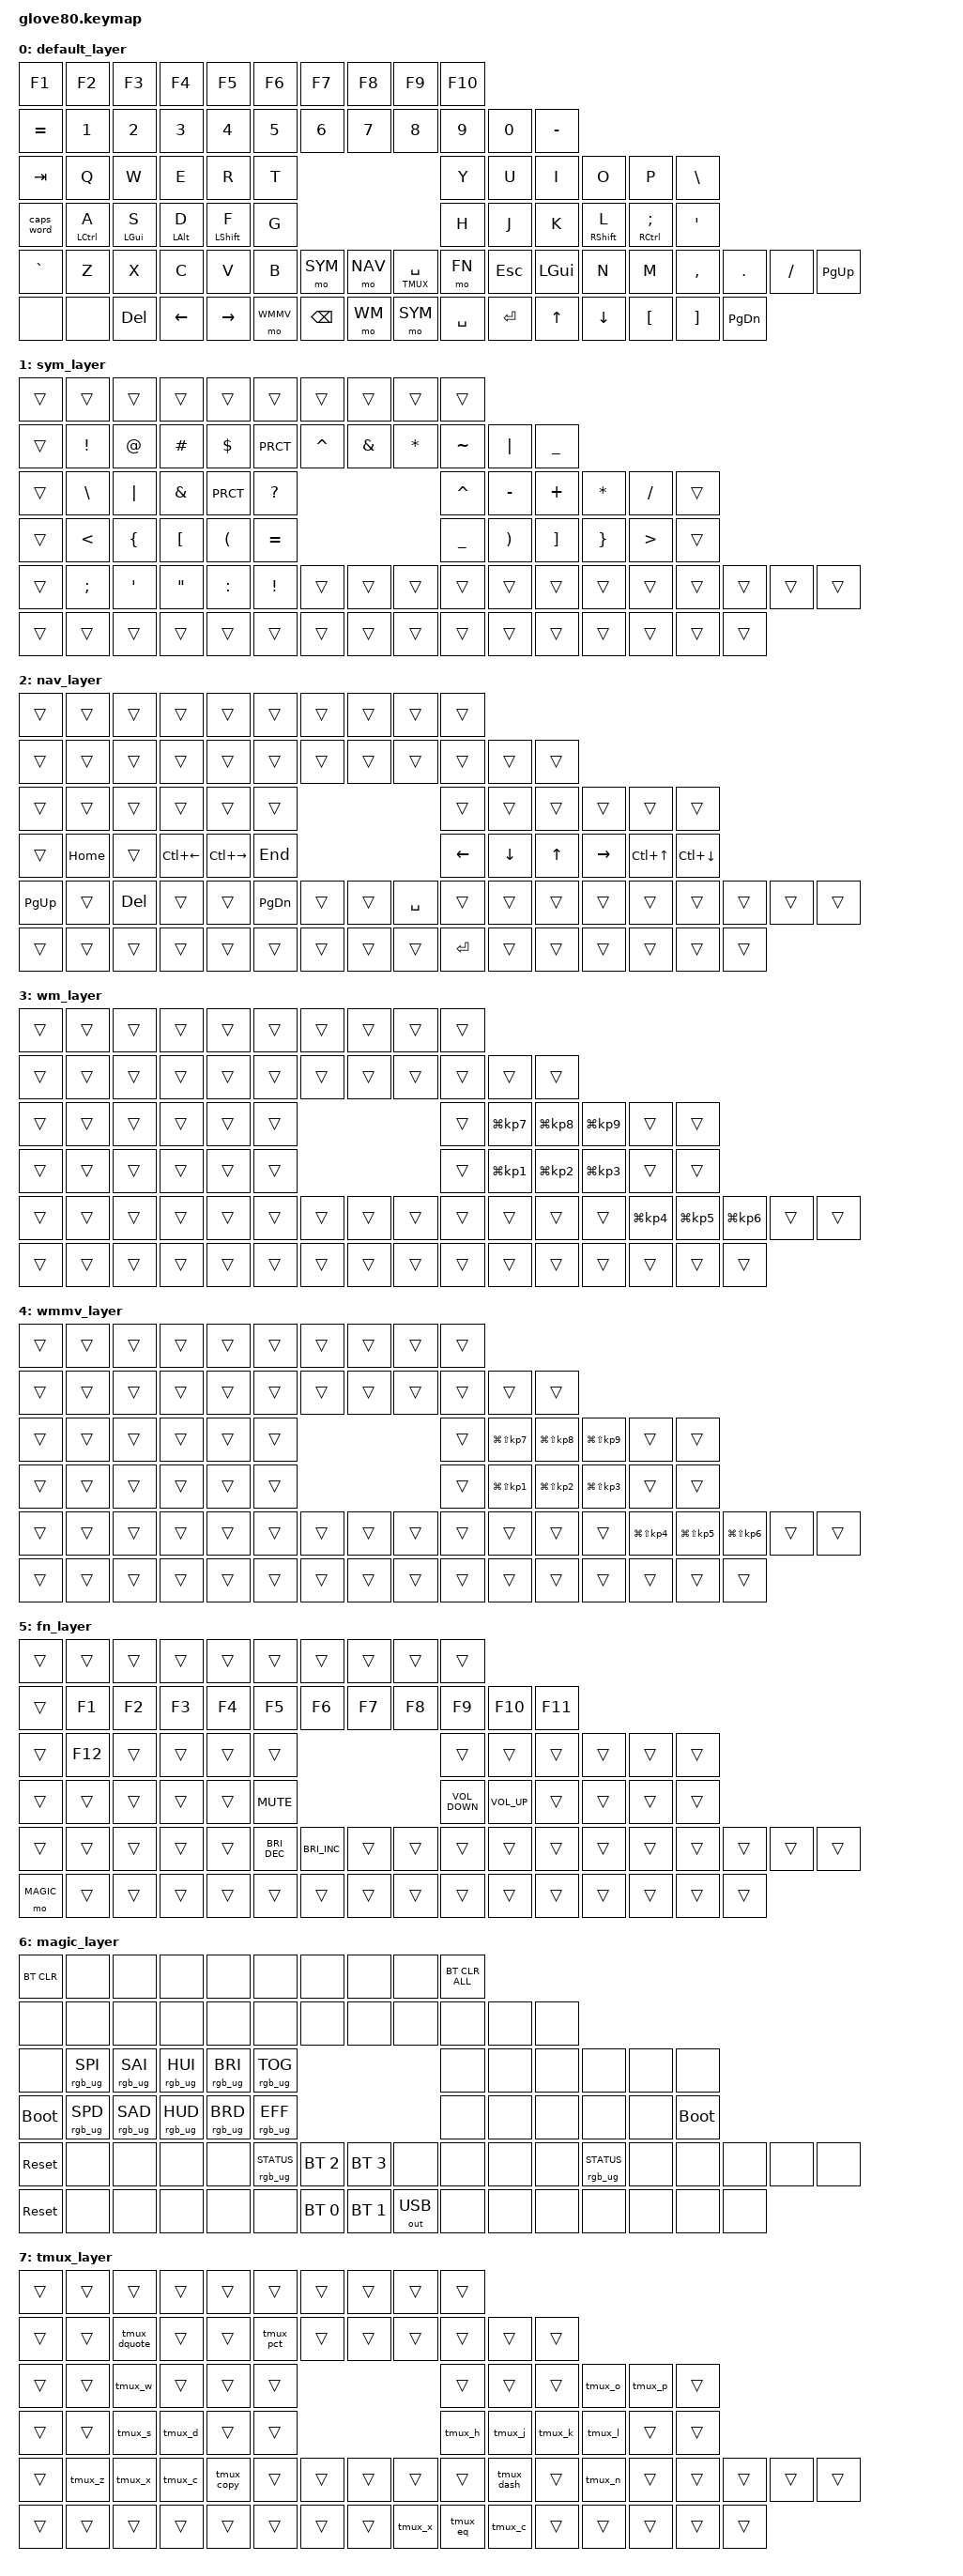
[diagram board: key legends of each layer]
/*
 * Glove80 keymap for asadler -- nvim + omarchy/Hyprland optimized.
 * Build: fork moergo-sc/glove80-zmk-config, put this in config/glove80.keymap,
 * push, grab glove80.uf2 from Actions, flash each half.
 *
 * HRM is bilateral: left-hand mods (hml) only engage for right-hand/thumb keys
 * and vice versa (hmr), so same-hand rolls resolve as letters instantly with no
 * tapping-term stall. Multi-mod chords must cross hands (e.g. Ctrl on A + Shift on L).
 * HRM on A/S/D/F + J/K/L/;, thumbs = left: SYM/NAV/tmux-space + WM-move/backspace/WM,
 * right: FN/Esc/SUPER + SYM/space/enter (SYM on both thumbs so any symbol can be
 * reached cross-hand; both WM layers hold on the left thumb, targets on the right).
 * Esc = J+K combo or right-middle thumb key, tmux command mode = hold the
 * right-thumb inner key (tap = space): while held, each key sends
 * prefix+command (e.g. = -> backtick+equal, % -> backtick+%, " -> backtick+").
 * tmux V = prefix+[ -> copy/visual mode (mode-keys vi, so v selects, y yanks).
 * Delete on NAV and bottom-row left, WM layers emit SUPER+numpad (matches ~/.config/hypr/bindings.lua
 * numpad workspace grid): 1/2/3 on J/K/L, 4/5/6 on M/,/., 7/8/9 on U/I/O.
 * SYM home row is mirrored: pinky->index is < { [ ( on the left and ) ] } >
 * on the right (openers left, closers right, same finger); inner index is
 * = / _. Right-hand N M , . / stay &trans so , and . work while SYM is held.
 * SYM row above home is the operator row: left pinky->index-stretch is
 * \ | & % ?, right index-stretch->pinky is ^ - + * /, so U I O P reads
 * "- + * /" in arithmetic order and % sits on the left index home column
 * instead of a lateral stretch.
 */

#include <behaviors.dtsi>
#include <dt-bindings/zmk/keys.h>
#include <dt-bindings/zmk/bt.h>
#include <dt-bindings/zmk/outputs.h>
#include <dt-bindings/zmk/rgb.h>

#define DEFAULT 0
#define SYM 1
#define NAV 2
#define WM 3
#define WMMV 4
#define FN 5
#define MAGIC 6
#define TMUX 7

/* Key positions for bilateral home-row mods. Rows are 10/12/12/12/18/16 keys.
 * Thumbs are listed for both hands so mod+space/enter/layer still works. */
#define LEFT_HAND  0 1 2 3 4 \
                   10 11 12 13 14 15 \
                   22 23 24 25 26 27 \
                   34 35 36 37 38 39 \
                   46 47 48 49 50 51 \
                   64 65 66 67 68
#define RIGHT_HAND 5 6 7 8 9 \
                   16 17 18 19 20 21 \
                   28 29 30 31 32 33 \
                   40 41 42 43 44 45 \
                   58 59 60 61 62 63 \
                   75 76 77 78 79
#define THUMBS     52 53 54 55 56 57 \
                   69 70 71 72 73 74

/ {
    behaviors {
        hml: hold_tap_left {
            compatible = "zmk,behavior-hold-tap";
            label = "HML";
            #binding-cells = <2>;
            flavor = "balanced";
            tapping-term-ms = <170>;
            quick-tap-ms = <150>;
            require-prior-idle-ms = <100>;
            hold-trigger-key-positions = <RIGHT_HAND THUMBS>;
            bindings = <&kp &kp>;
        };
        hmr: hold_tap_right {
            compatible = "zmk,behavior-hold-tap";
            label = "HMR";
            #binding-cells = <2>;
            flavor = "balanced";
            tapping-term-ms = <170>;
            quick-tap-ms = <150>;
            require-prior-idle-ms = <100>;
            hold-trigger-key-positions = <LEFT_HAND THUMBS>;
            bindings = <&kp &kp>;
        };
        tmux_lt: tmux_lt {
            compatible = "zmk,behavior-hold-tap";
            label = "TMUX_LT";
            #binding-cells = <2>;
            flavor = "tap-preferred";
            tapping-term-ms = <150>;
            quick-tap-ms = <100>;
            bindings = <&mo &kp>;
        };
        tmux_eq: tmux_eq {
            compatible = "zmk,behavior-macro";
            #binding-cells = <0>;
            bindings = <&kp GRAVE &kp EQUAL>;
        };
        tmux_dquote: tmux_dquote {
            compatible = "zmk,behavior-macro";
            #binding-cells = <0>;
            bindings = <&kp GRAVE &kp LS(N2)>;
        };
        tmux_pct: tmux_pct {
            compatible = "zmk,behavior-macro";
            #binding-cells = <0>;
            bindings = <&kp GRAVE &kp LS(N5)>;
        };
        tmux_c: tmux_c {
            compatible = "zmk,behavior-macro";
            #binding-cells = <0>;
            bindings = <&kp GRAVE &kp C>;
        };
        tmux_n: tmux_n {
            compatible = "zmk,behavior-macro";
            #binding-cells = <0>;
            bindings = <&kp GRAVE &kp N>;
        };
        tmux_p: tmux_p {
            compatible = "zmk,behavior-macro";
            #binding-cells = <0>;
            bindings = <&kp GRAVE &kp P>;
        };
        tmux_w: tmux_w {
            compatible = "zmk,behavior-macro";
            #binding-cells = <0>;
            bindings = <&kp GRAVE &kp W>;
        };
        tmux_o: tmux_o {
            compatible = "zmk,behavior-macro";
            #binding-cells = <0>;
            bindings = <&kp GRAVE &kp O>;
        };
        tmux_z: tmux_z {
            compatible = "zmk,behavior-macro";
            #binding-cells = <0>;
            bindings = <&kp GRAVE &kp Z>;
        };
        tmux_d: tmux_d {
            compatible = "zmk,behavior-macro";
            #binding-cells = <0>;
            bindings = <&kp GRAVE &kp D>;
        };
        tmux_x: tmux_x {
            compatible = "zmk,behavior-macro";
            #binding-cells = <0>;
            bindings = <&kp GRAVE &kp X>;
        };
        tmux_dash: tmux_dash {
            compatible = "zmk,behavior-macro";
            #binding-cells = <0>;
            bindings = <&kp GRAVE &kp MINUS>;
        };
        tmux_h: tmux_h {
            compatible = "zmk,behavior-macro";
            #binding-cells = <0>;
            bindings = <&kp GRAVE &kp H>;
        };
        tmux_j: tmux_j {
            compatible = "zmk,behavior-macro";
            #binding-cells = <0>;
            bindings = <&kp GRAVE &kp J>;
        };
        tmux_k: tmux_k {
            compatible = "zmk,behavior-macro";
            #binding-cells = <0>;
            bindings = <&kp GRAVE &kp K>;
        };
        tmux_l: tmux_l {
            compatible = "zmk,behavior-macro";
            #binding-cells = <0>;
            bindings = <&kp GRAVE &kp L>;
        };
        tmux_s: tmux_s {
            compatible = "zmk,behavior-macro";
            #binding-cells = <0>;
            bindings = <&kp GRAVE &kp S>;
        };
        tmux_copy: tmux_copy {
            compatible = "zmk,behavior-macro";
            #binding-cells = <0>;
            bindings = <&kp GRAVE &kp LBKT>;
        };
        caps_word: caps_word {
            compatible = "zmk,behavior-caps-word";
            #binding-cells = <0>;
        };
    };

    combos {
        compatible = "zmk,combos";
        combo_esc {
            timeout-ms = <50>;
            key-positions = <41 42>;
            layers = <DEFAULT>;
            bindings = <&kp ESC>;
        };
    };

    keymap {
        compatible = "zmk,keymap";
        default_layer {
            bindings = <
            &kp F1 &kp F2 &kp F3 &kp F4 &kp F5 &kp F6 &kp F7 &kp F8 &kp F9 &kp F10
            &kp EQUAL &kp N1 &kp N2 &kp N3 &kp N4 &kp N5 &kp N6 &kp N7 &kp N8 &kp N9 &kp N0 &kp MINUS
            &kp TAB &kp Q &kp W &kp E &kp R &kp T &kp Y &kp U &kp I &kp O &kp P &kp BSLH
            &caps_word &hml LCTRL A &hml LGUI S &hml LALT D &hml LSHFT F &kp G &kp H &kp J &kp K &hmr RSHFT L &hmr RCTRL SEMI &kp SQT
            &kp GRAVE &kp Z &kp X &kp C &kp V &kp B &mo SYM &mo NAV &tmux_lt TMUX SPACE &mo FN &kp ESC &kp LGUI &kp N &kp M &kp COMMA &kp DOT &kp FSLH &kp PG_UP
            &none &none &kp DEL &kp LEFT &kp RIGHT &mo WMMV &kp BSPC &mo WM &mo SYM &kp SPACE &kp RET &kp UP &kp DOWN &kp LBKT &kp RBKT &kp PG_DN
            >;
        };

        sym_layer {
            bindings = <
            &trans &trans &trans &trans &trans &trans &trans &trans &trans &trans
            &trans &kp EXCL &kp AT &kp HASH &kp DLLR &kp PRCT &kp CARET &kp AMPS &kp ASTERISK &kp TILDE &kp PIPE &kp UNDER
            &trans &kp BSLH &kp PIPE &kp AMPS &kp PRCT &kp QMARK &kp CARET &kp MINUS &kp PLUS &kp ASTERISK &kp FSLH &trans
            &trans &kp LT &kp LBRC &kp LBKT &kp LPAR &kp EQUAL &kp UNDER &kp RPAR &kp RBKT &kp RBRC &kp GT &trans
            &trans &kp SEMI &kp SQT &kp DQT &kp COLON &kp EXCL &trans &trans &trans &trans &trans &trans &trans &trans &trans &trans &trans &trans
            &trans &trans &trans &trans &trans &trans &trans &trans &trans &trans &trans &trans &trans &trans &trans &trans
            >;
        };

        nav_layer {
            bindings = <
            &trans &trans &trans &trans &trans &trans &trans &trans &trans &trans
            &trans &trans &trans &trans &trans &trans &trans &trans &trans &trans &trans &trans
            &trans &trans &trans &trans &trans &trans &trans &trans &trans &trans &trans &trans
            &trans &kp HOME &trans &kp LC(LEFT) &kp LC(RIGHT) &kp END &kp LEFT &kp DOWN &kp UP &kp RIGHT &kp LC(UP) &kp LC(DOWN)
            &kp PG_UP &trans &kp DEL &trans &trans &kp PG_DN &trans &trans &kp SPACE &trans &trans &trans &trans &trans &trans &trans &trans &trans
            &trans &trans &trans &trans &trans &trans &trans &trans &trans &kp RET &trans &trans &trans &trans &trans &trans
            >;
        };

        wm_layer {
            bindings = <
            &trans &trans &trans &trans &trans &trans &trans &trans &trans &trans
            &trans &trans &trans &trans &trans &trans &trans &trans &trans &trans &trans &trans
            &trans &trans &trans &trans &trans &trans &trans &kp LG(KP_N7) &kp LG(KP_N8) &kp LG(KP_N9) &trans &trans
            &trans &trans &trans &trans &trans &trans &trans &kp LG(KP_N1) &kp LG(KP_N2) &kp LG(KP_N3) &trans &trans
            &trans &trans &trans &trans &trans &trans &trans &trans &trans &trans &trans &trans &trans &kp LG(KP_N4) &kp LG(KP_N5) &kp LG(KP_N6) &trans &trans
            &trans &trans &trans &trans &trans &trans &trans &trans &trans &trans &trans &trans &trans &trans &trans &trans
            >;
        };

        wmmv_layer {
            bindings = <
            &trans &trans &trans &trans &trans &trans &trans &trans &trans &trans
            &trans &trans &trans &trans &trans &trans &trans &trans &trans &trans &trans &trans
            &trans &trans &trans &trans &trans &trans &trans &kp LG(LS(KP_N7)) &kp LG(LS(KP_N8)) &kp LG(LS(KP_N9)) &trans &trans
            &trans &trans &trans &trans &trans &trans &trans &kp LG(LS(KP_N1)) &kp LG(LS(KP_N2)) &kp LG(LS(KP_N3)) &trans &trans
            &trans &trans &trans &trans &trans &trans &trans &trans &trans &trans &trans &trans &trans &kp LG(LS(KP_N4)) &kp LG(LS(KP_N5)) &kp LG(LS(KP_N6)) &trans &trans
            &trans &trans &trans &trans &trans &trans &trans &trans &trans &trans &trans &trans &trans &trans &trans &trans
            >;
        };

        fn_layer {
            bindings = <
            &trans &trans &trans &trans &trans &trans &trans &trans &trans &trans
            &trans &kp F1 &kp F2 &kp F3 &kp F4 &kp F5 &kp F6 &kp F7 &kp F8 &kp F9 &kp F10 &kp F11
            &trans &kp F12 &trans &trans &trans &trans &trans &trans &trans &trans &trans &trans
            &trans &trans &trans &trans &trans &kp C_MUTE &kp C_VOLUME_DOWN &kp C_VOLUME_UP &trans &trans &trans &trans
            &trans &trans &trans &trans &trans &kp C_BRI_DEC &kp C_BRI_INC &trans &trans &trans &trans &trans &trans &trans &trans &trans &trans &trans
            &mo MAGIC &trans &trans &trans &trans &trans &trans &trans &trans &trans &trans &trans &trans &trans &trans &trans
            >;
        };

        magic_layer {
            bindings = <
            &bt BT_CLR &none &none &none &none &none &none &none &none &bt BT_CLR_ALL
            &none &none &none &none &none &none &none &none &none &none &none &none
            &none &rgb_ug RGB_SPI &rgb_ug RGB_SAI &rgb_ug RGB_HUI &rgb_ug RGB_BRI &rgb_ug RGB_TOG &none &none &none &none &none &none
            &bootloader &rgb_ug RGB_SPD &rgb_ug RGB_SAD &rgb_ug RGB_HUD &rgb_ug RGB_BRD &rgb_ug RGB_EFF &none &none &none &none &none &bootloader
            &sys_reset &none &none &none &none &rgb_ug RGB_STATUS &bt BT_SEL 2 &bt BT_SEL 3 &none &none &none &none &rgb_ug RGB_STATUS &none &none &none &none &none
            &sys_reset &none &none &none &none &none &bt BT_SEL 0 &bt BT_SEL 1 &out OUT_USB &none &none &none &none &none &none &none
            >;
        };

        tmux_layer {
            bindings = <
            &trans &trans &trans &trans &trans &trans &trans &trans &trans &trans
            &trans &trans &tmux_dquote &trans &trans &tmux_pct &trans &trans &trans &trans &trans &trans
            &trans &trans &tmux_w &trans &trans &trans &trans &trans &trans &tmux_o &tmux_p &trans
            &trans &trans &tmux_s &tmux_d &trans &trans &tmux_h &tmux_j &tmux_k &tmux_l &trans &trans
            &trans &tmux_z &tmux_x &tmux_c &tmux_copy &trans &trans &trans &trans &trans &tmux_dash &trans &tmux_n &trans &trans &trans &trans &trans
            &trans &trans &trans &trans &trans &trans &trans &trans &tmux_x &tmux_eq &tmux_c &trans &trans &trans &trans &trans
            >;
        };

    };
};
